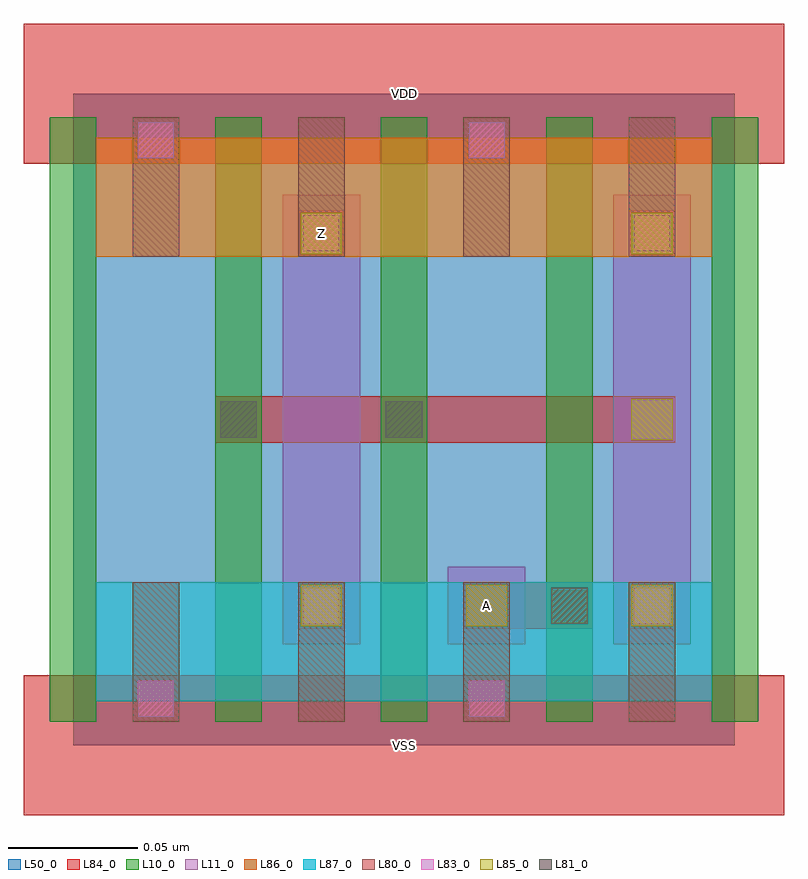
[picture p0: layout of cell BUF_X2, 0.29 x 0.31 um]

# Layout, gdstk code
import gdstk
lib = gdstk.Library(unit=1e-6, precision=1e-09)
def R(c, l, rs):  # rectangles x0, y0, x1, y1
    for r in rs: c.add(gdstk.rectangle(r[:2], r[2:], *l))
def A(c, l, x, y, w, h, nx, ny, dx, dy):  # array of equal rectangles
    R(c, l, [(x+i*dx, y+j*dy, x+i*dx+w, y+j*dy+h) for i in range(nx) for j in range(ny)])
L10_0 = (10, 0)
L11_0 = (11, 0)
L50_0 = (50, 0)
L80_0 = (80, 0)
L81_0 = (81, 0)
L83_0 = (83, 0)
L84_0 = (84, 0)
L85_0 = (85, 0)
L86_0 = (86, 0)
L87_0 = (87, 0)

buf_x2 = lib.new_cell('BUF_X2')
A(buf_x2, L10_0, -0.009, 0.009, 0.018, 0.234, 5, 1, 0.064, 0)
R(buf_x2, L11_0, [(0.081,0.039,0.111,0.213), (0.145,0.039,0.175,0.069), (0.209,0.039,0.239,0.213)])
R(buf_x2, L50_0, [(0,0,0.256,0.252)])
A(buf_x2, L80_0, 0.023, 0.009, 0.018, 0.054, 4, 2, 0.064, 0.18)
R(buf_x2, L81_0, [(0.185,0.047,0.199,0.061), (0.057,0.119,0.071,0.133), (0.121,0.119,0.135,0.133)])
R(buf_x2, L83_0, [(0.025,0.011,0.039,0.025), (0.153,0.011,0.167,0.025), (0.089,0.047,0.103,0.061), (0.217,0.047,0.231,0.061), (0.089,0.191,0.103,0.205), (0.217,0.191,0.231,0.205), (0.025,0.227,0.039,0.241), (0.153,0.227,0.167,0.241)])
R(buf_x2, L84_0, [(-0.019,-0.027,0.275,0.027), (0.087,0.045,0.105,0.063), (0.151,0.045,0.201,0.063), (0.215,0.045,0.233,0.063), (0.055,0.117,0.233,0.135), (0.087,0.189,0.105,0.207), (0.215,0.189,0.233,0.207), (-0.019,0.225,0.275,0.279)])
A(buf_x2, L85_0, 0.088, 0.046, 0.016, 0.016, 3, 1, 0.064, 0)
R(buf_x2, L85_0, [(0.216,0.118,0.232,0.134), (0.088,0.19,0.104,0.206), (0.216,0.19,0.232,0.206)])
R(buf_x2, L86_0, [(0.009,0.189,0.247,0.235)])
R(buf_x2, L87_0, [(0.009,0.017,0.247,0.063)])
buf_x2.add(gdstk.Label('VDD', (0.128,0.252), layer=88, texttype=0))
buf_x2.add(gdstk.Label('VSS', (0.128,0), layer=88, texttype=0))
buf_x2.add(gdstk.Label('Z', (0.096,0.198), layer=31, texttype=0))
buf_x2.add(gdstk.Label('A', (0.16,0.054), layer=31, texttype=0))

lib.write_gds('BUF_X2.gds')
